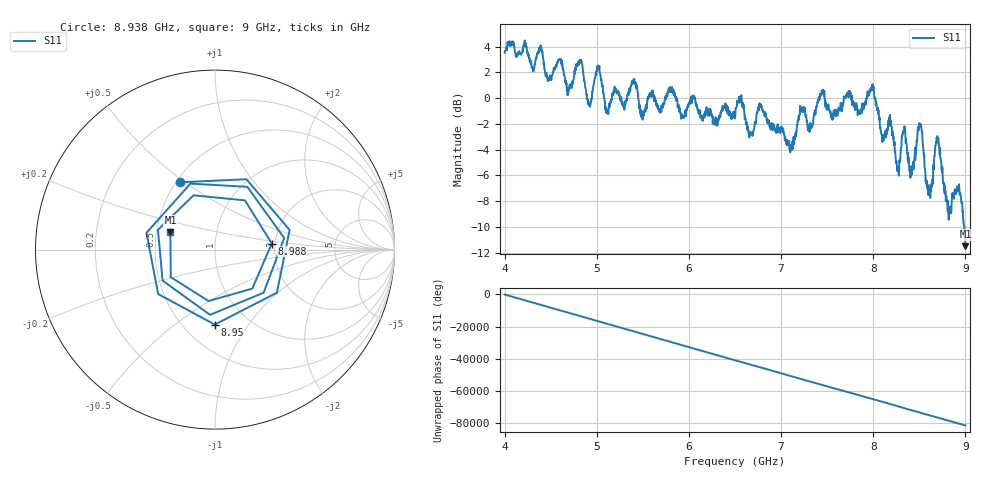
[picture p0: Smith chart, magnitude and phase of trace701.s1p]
! Created with skrf 1.8.0 (http://scikit-rf.org).
# Hz S RI R 50.0
!freq ReS11 ImS11
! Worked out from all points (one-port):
!   1601 points, 4 GHz to 9 GHz, reference 50 ohm
!   lowest |S11| = -11.5 dB at 9 GHz (marker M1), VSWR 1.73, Z = 29.6 + j6.13 ohm
!   |S11| at or under -10 dB: 8.988316 GHz to end of sweep
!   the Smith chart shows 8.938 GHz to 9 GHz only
!   S11 on the Smith chart (normalised r, x): 8.938 GHz: 0.52, +0.48; 8.95 GHz: 0.70, -0.71; 8.988 GHz: 1.92, +0.14; 9 GHz: 0.59, +0.12
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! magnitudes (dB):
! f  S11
! 4 GHz  3.5
! 4.625 GHz  2.7
! 4.7 GHz  0.8
! 4.825 GHz  3.0
! 4.919 GHz  -0.4
! 5.012 GHz  2.2
! 5.112 GHz  -0.9
! 5.25 GHz  0.1
! 5.875 GHz  -0.2
! 6.5 GHz  -1.6
! 7.125 GHz  -4.0
! 7.231 GHz  -0.9
! 7.312 GHz  -2.3
! 7.444 GHz  0.5
! 7.75 GHz  0.4
! 7.988 GHz  1.0
! 8.262 GHz  -5.7
! 8.331 GHz  -2.5
! 8.375 GHz  -4.7
! 8.419 GHz  -5.7
! 8.506 GHz  -2.0
! 8.594 GHz  -6.8
! 8.694 GHz  -2.9
! 8.822 GHz  -8.5
! 8.938 GHz  -7.5
! 8.95 GHz  -7.6
! 8.988 GHz  -9.9
! 9 GHz  -11.5
